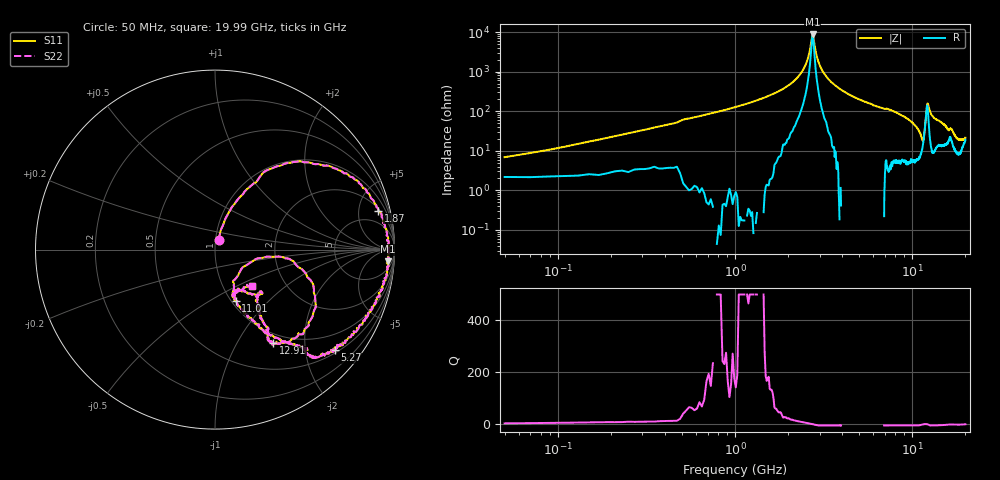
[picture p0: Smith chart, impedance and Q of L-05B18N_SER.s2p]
! Data Taken on a HP 8720C VNA using a series-through fixture with TRL* de-embedding
#	mhz	s	ma	r	50
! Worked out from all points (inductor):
!   998 points, 50 MHz to 19.99 GHz, reference 50 ohm
!   read as one part in series: L = 17.6 nH near 130 MHz
!   highest |Z| = 8.69 kohm at 2.75 GHz (marker M1)
!   self-resonance near 2.73 GHz
!   S11 on the Smith chart (normalised r, x): 50 MHz: 1.03, +0.11; 1.87 GHz: 2.23, +7.86; 5.27 GHz: 0.56, -2.65; 11.01 GHz: 1.05, -0.66; 12.91 GHz: 0.85, -1.43; 19.99 GHz: 1.37, -0.60
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50  0.05615 69.2  0.972 -4.3  0.972 -4.3  0.05615 69.2
250  0.2555 68.4  0.9402 -15.5  0.9402 -15.5  0.2555 68.4
570  0.5433 55.6  0.8091 -34.6  0.8091 -34.6  0.5433 55.6
1210  0.8298 31.7  0.5092 -58.8  0.5092 -58.8  0.8298 31.7
1870  0.9361 13.4  0.2562 -74.4  0.2562 -74.4  0.9361 13.4
2410  0.9687 2.2  0.09078 -80.3  0.09078 -80.3  0.9687 2.2
2750  0.9667 -3.9  0.01111 4.3  0.01111 4.3  0.9667 -3.9
3030  0.9646 -8.2  0.07154 74.6  0.07154 74.6  0.9646 -8.2
3390  0.9514 -13.8  0.1504 73.8  0.1504 73.8  0.9514 -13.8
4170  0.9268 -24.2  0.2983 67.3  0.2983 67.3  0.9268 -24.2
5270  0.8737 -40.0  0.4521 56.9  0.4521 56.9  0.8737 -40.0
6710  0.7809 -48.3  0.5937 44.6  0.5937 44.6  0.7809 -48.3
10030  0.4639 -61.2  0.8403 23.4  0.8403 23.4  0.4639 -61.2
11010  0.3089 -67.9  0.8875 12.0  0.8875 12.0  0.3089 -67.9
11590  0.1835 -38.5  0.8433 -1.9  0.8433 -1.9  0.1835 -38.5
11910  0.3776 -6.3  0.6368 -14.1  0.6368 -14.1  0.3776 -6.3
12230  0.6468 -29.7  0.3883 12.3  0.3883 12.3  0.6468 -29.7
12910  0.6135 -58.2  0.6768 27.6  0.6768 27.6  0.6135 -58.2
13350  0.5756 -59.4  0.7428 23.5  0.7428 23.5  0.5756 -59.4
16670  0.3462 -46.5  0.8486 10.9  0.8486 10.9  0.3462 -46.5
18670  0.273 -69.3  0.8997 1.0  0.8997 1.0  0.273 -69.3
19990  0.2897 -44.2  0.8815 -3.9  0.8815 -3.9  0.2897 -44.2
